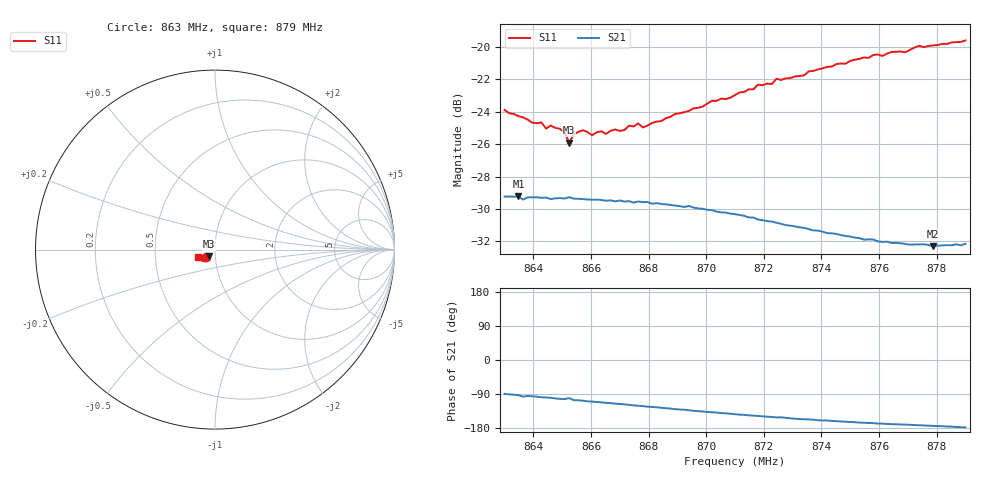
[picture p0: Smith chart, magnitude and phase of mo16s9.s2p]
# HZ S RI R 50
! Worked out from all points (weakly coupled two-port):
!   101 points, 863 MHz to 879 MHz, reference 50 ohm
!   highest |S21| = -29.23 dB at 863.48 MHz (marker M1); lowest = -32.3 dB at 877.88 MHz (marker M2)
!   lowest |S11| = -25.9 dB at 865.24 MHz (marker M3), VSWR 1.11, Z = 46.6 - j3.53 ohm
!   |S11| at or under -10 dB: start of sweep to end of sweep
!   S12 and S22 are empty: the file has one direction only
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8.63e8  -0.0502 -0.0393  0.000478 -0.0345  0 0  0 0
8.6348e8  -0.0474 -0.0385  -0.00162 -0.0345  0 0  0 0
8.6428e8  -0.0428 -0.0397  -0.00501 -0.0339  0 0  0 0
8.6444e8  -0.0411 -0.0379  -0.00532 -0.0339  0 0  0 0
8.646e8  -0.0415 -0.0393  -0.0058 -0.0334  0 0  0 0
8.6492e8  -0.0399 -0.0391  -0.0074 -0.0334  0 0  0 0
8.6508e8  -0.0379 -0.0392  -0.00783 -0.0332  0 0  0 0
8.6524e8  -0.0336 -0.0378  -0.00622 -0.0338  0 0  0 0
8.654e8  -0.0363 -0.0394  -0.00937 -0.0327  0 0  0 0
8.6572e8  -0.0361 -0.0419  -0.0102 -0.0324  0 0  0 0
8.6604e8  -0.0342 -0.0409  -0.0114 -0.0318  0 0  0 0
8.6636e8  -0.0348 -0.0424  -0.0125 -0.0313  0 0  0 0
8.6652e8  -0.0325 -0.0429  -0.0132 -0.0308  0 0  0 0
8.6844e8  -0.0324 -0.0493  -0.0193 -0.0265  0 0  0 0
8.71e8  -0.0383 -0.0597  -0.0243 -0.0183  0 0  0 0
8.718e8  -0.0439 -0.0624  -0.0248 -0.0157  0 0  0 0
8.7228e8  -0.0444 -0.0625  -0.0251 -0.0143  0 0  0 0
8.7244e8  -0.0483 -0.0633  -0.0252 -0.0137  0 0  0 0
8.7372e8  -0.0526 -0.0657  -0.0251 -0.0104  0 0  0 0
8.7644e8  -0.0757 -0.0595  -0.0244 -0.00461  0 0  0 0
8.7788e8  -0.0874 -0.0504  -0.0242 -0.00261  0 0  0 0
8.79e8  -0.0955 -0.0422  -0.0247 -0.000952  0 0  0 0
